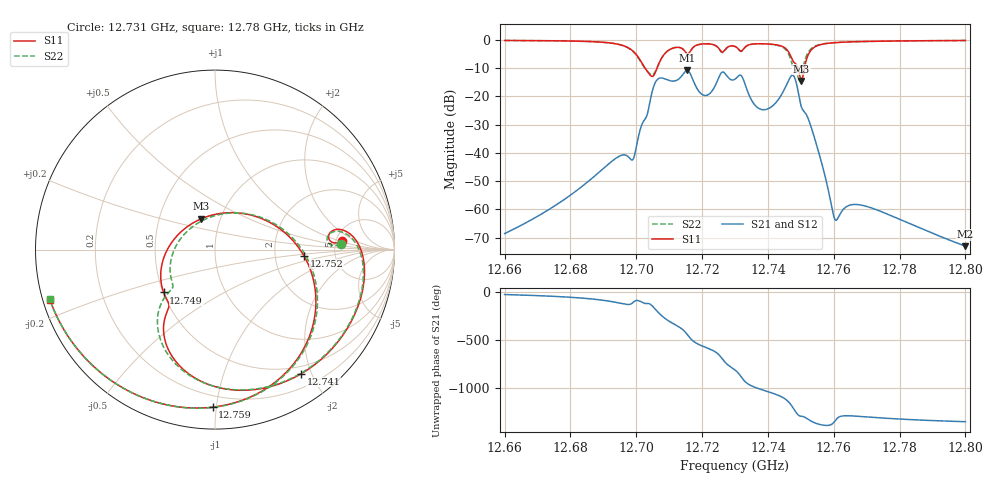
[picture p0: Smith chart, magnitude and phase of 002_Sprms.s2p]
! TOUCHSTONE file generated by CST MICROWAVE STUDIO
! Date and time: Wed Jul 31 10:40:44 2024
! Project name: WaveGuide_BPF-Ver4.1_U-shape_Ku_T3_C4_CWA_2.cst
! Parameters = {cavity_h=16; cavity_l0=10; cavity_l1=15.1701; cavity_l2=16.8843; cavity_l3=17.0814; cavity_l4=17.3094; cavity_l5=17.1483; cavity_l6=17.5959; cavity_r=2.5; cavity_screw_l=0.5; cavity_screw_r=1.5; cavity_w=8; iris_h00=0; iris_h01=8.8372; iris_h112=0; iris_h12=5.6103; iris_h211=3.6655; 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
! Header version: 2018
! Port assignment regex: !\s*Touchstone port\s*([0-9]+)\s*=\s*(CST MWS port|CST DS port)\s*([0-9]+|Zmin|Zmax)\s*\(\"(.*)\"\)(\s*mode\s*([0-9]+))?.*
! Touchstone port assignment:
! Touchstone port 1 = CST MWS port 1 ("")
! Touchstone port 2 = CST MWS port 2 ("")
# GHz S RI R 50
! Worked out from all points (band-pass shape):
!   5001 points, 12.66 GHz to 12.8 GHz, reference 50 ohm
!   highest |S21| = -10.77 dB at 12.715 GHz (marker M1); lowest = -73.0 dB at 12.8 GHz (marker M2)
!   |S21| within 3 dB of the highest: 12.71295 GHz to 12.71709 GHz (4.142 MHz wide, 0.0326 % of centre); 12.7249 GHz to 12.72838 GHz (3.483 MHz wide, 0.0274 % of centre) (the widest 2 of 5)
!   lowest |S11| = -14.5 dB at 12.75 GHz (marker M3), VSWR 1.46, Z = 40.6 + j14.5 ohm
!   |S11| at or under -10 dB: 12.7027 GHz to 12.7063 GHz (3.607 MHz wide, 0.0284 % of centre); 12.74914 GHz to 12.75108 GHz (1.936 MHz wide, 0.0152 % of centre)
!   |S22| runs from -15.1 to -0.2 dB; largest |S21 - S12| = 1e-09
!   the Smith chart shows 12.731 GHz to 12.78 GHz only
!   S11 on the Smith chart (normalised r, x): 12.731 GHz: 5.64, +1.07; 12.741 GHz: 0.39, -1.85; 12.749 GHz: 0.50, -0.28; 12.752 GHz: 2.94, -0.26; 12.759 GHz: 0.13, -0.98; 12.78 GHz: 0.02, -0.15
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12.66  0.3112 0.9304  0.000344 -0.000147  0.000344 -0.000147  0.3161 0.9287
12.68335  0.75 0.5816  0.00126 -0.00218  0.00126 -0.00218  0.7554 0.5739
12.69382  0.85 -0.1028  -0.00212 -0.0078  -0.00212 -0.0078  0.8447 -0.1218
12.69895  0.1959 -0.6104  -0.00239 -0.00723  -0.00239 -0.00723  0.156 -0.6102
12.70136  -0.3546 -0.2347  -0.0035 -0.0276  -0.0035 -0.0276  -0.3684 -0.1827
12.70315  -0.1289 0.2589  -0.0206 -0.0397  -0.0206 -0.0397  -0.0817 0.2781
12.70668  -0.2198 -0.283  -0.1775 0.1036  -0.1775 0.1036  -0.2357 -0.2826
12.71152  -0.3164 0.6556  0.1688 0.0819  0.1688 0.0819  -0.3072 0.6606
12.71547  0.0772 0.5636  0.0449 -0.2858  0.0449 -0.2858  0.0843 0.5589
12.72496  0.6578 0.3025  0.072 0.1961  0.072 0.1961  0.6585 0.2829
12.73  0.7588 0.1296  -0.0175 -0.2022  -0.0175 -0.2022  0.7566 0.1139
12.73087  0.7065 0.0473  -0.1204 -0.1909  -0.1204 -0.1909  0.7008 0.0312
12.741  0.4807 -0.6913  0.0584 0.0292  0.0584 0.0292  0.4443 -0.708
12.74856  -0.286 -0.2389  -0.1796 0.00423  -0.1796 0.00423  -0.2484 -0.1376
12.75019  -0.0762 0.1718  -0.0494 0.0421  -0.0494 0.0421  0.0779 0.2032
12.75195  0.4951 -0.0339  -0.0173 0.0407  -0.0173 0.0407  0.5484 -0.1334
12.75335  0.5483 -0.4105  0.00267 0.0262  0.00267 0.0262  0.5343 -0.4806
12.75859  -0.0139 -0.8781  0.00134 0.00134  0.00134 0.00134  -0.0368 -0.8812
12.76069  -0.2059 -0.8758  -0.000158 0.000624  -0.000158 0.000624  -0.2242 -0.8735
12.77668  -0.876 -0.3831  -0.000365 0.000724  -0.000365 0.000724  -0.88 -0.3749
12.77992  -0.9191 -0.2814  -0.000233 0.000631  -0.000233 0.000631  -0.9218 -0.2733
12.8  -0.9623 0.1788  3.01e-05 0.000222  3.01e-05 0.000222  -0.9613 0.1847
